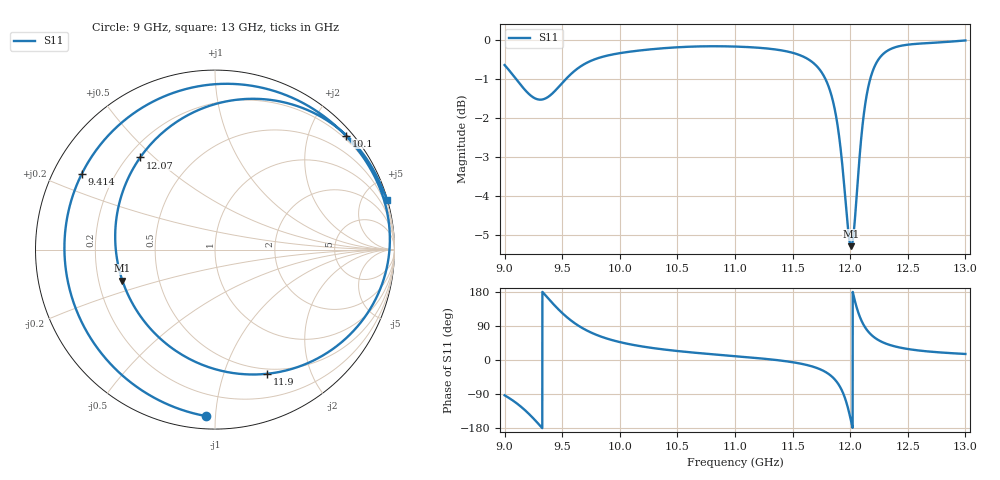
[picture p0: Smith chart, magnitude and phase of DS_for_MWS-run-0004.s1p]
! TOUCHSTONE file generated by CST DESIGN STUDIO
! Date and time: Tue Feb  4 14:34:04 2025
! Project name: C:\Work\MatlabApps\UnitCellOptimizationMatlab\CST\unitcell.cst
! Tree item: Tasks\Sweep1\SPara1\S-Parameters
! Header version: 2024
! Port assignment regex: !\s*Touchstone port\s*([0-9]+)\s*=\s*(CST MWS port|CST DES external port|CST DES block port)\s*(.+)\s* \(\"(.*)\"\)(\s*mode\s*([0-9]+))?.*
! Touchstone port assignment:
! Touchstone port 1 = CST DES external port 1 ("")
# GHz S MA R 50
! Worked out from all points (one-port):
!   4001 points, 9 GHz to 13 GHz, reference 50 ohm
!   lowest |S11| = -5.3 dB at 12.01 GHz (marker M1), VSWR 3.39, Z = 15.1 - j7.42 ohm
!   |S11| at or under -10 dB: nowhere
!   S11 on the Smith chart (normalised r, x): 9 GHz: 0.07, -0.94; 9.414 GHz: 0.08, +0.26; 10.1 GHz: 0.14, +2.67; 11.9 GHz: 0.44, -1.41; 12.07 GHz: 0.25, +0.45; 13 GHz: 0.04, +7.15
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9  0.9286 -93.2
9.098  0.8917 -112.7
9.188  0.8593 -135.5
9.308  0.8384 -173.4
9.414  0.8538 150.6
9.5  0.8806 124.0
9.579  0.9051 103.7
9.671  0.9272 85.0
9.821  0.9488 63.6
10  0.9618 47.3
10.095  0.9663 41.0
10.5  0.9786 23.7
11  0.9807 10.1
11.5  0.9628 -5.8
11.768  0.9009 -28.6
11.844  0.8419 -44.5
11.905  0.7501 -67.3
11.956  0.6299 -101.6
12  0.5467 -150.8
12.008  0.5441 -161.5
12.036  0.5775 161.7
12.066  0.6613 129.1
12.096  0.7493 105.1
12.129  0.825 86.4
12.232  0.9373 54.9
12.339  0.9716 40.1
12.5  0.9862 29.0
13  0.9985 15.9
